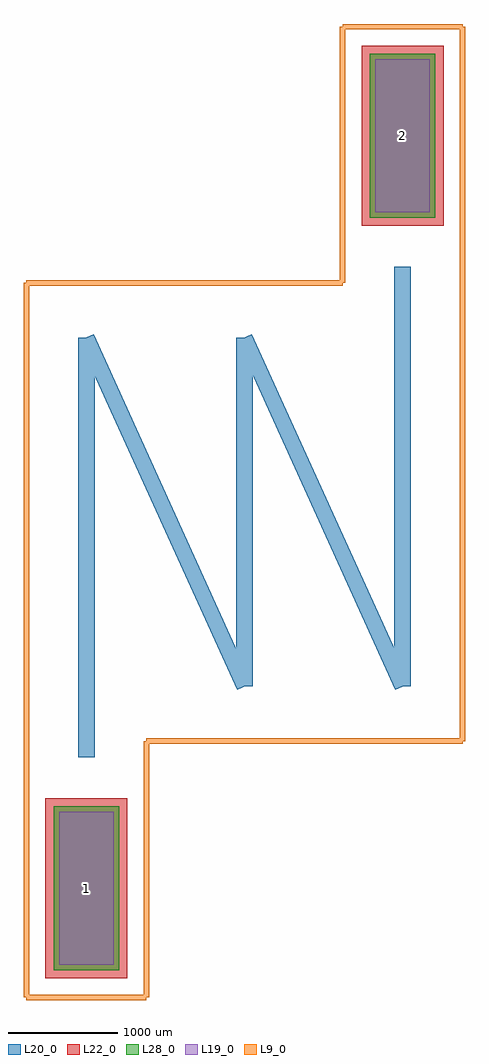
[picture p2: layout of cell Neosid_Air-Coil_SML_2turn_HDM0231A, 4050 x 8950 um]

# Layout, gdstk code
import gdstk
lib = gdstk.Library(unit=1e-6, precision=1e-09)
def R(c, l, rs):  # rectangles x0, y0, x1, y1
    for r in rs: c.add(gdstk.rectangle(r[:2], r[2:], *l))
L9_0 = (9, 0)
L19_0 = (19, 0)
L20_0 = (20, 0)
L22_0 = (22, 0)
L28_0 = (28, 0)

neosid_air_coil_sml_2tur = lib.new_cell('Neosid_Air-Coil_SML_2turn_HDM0231A')
R(neosid_air_coil_sml_2tur, L19_0, [(-1700,-4150,-1200,-2750), (1200,2750,1700,4150)])
R(neosid_air_coil_sml_2tur, L22_0, [(-1825,-4275,-1075,-2625), (1075,2625,1825,4275)])
R(neosid_air_coil_sml_2tur, L28_0, [(-1750,-4200,-1150,-2700), (1150,2700,1750,4200)])
neosid_air_coil_sml_2tur.add(gdstk.FlexPath([(1450,-1600),(1450,2250)], 149.998, ends="flush", simple_path=True, layer=20, datatype=0))  # L20_0
neosid_air_coil_sml_2tur.add(gdstk.FlexPath([(-1450,1600),(-1450,-2250)], 149.998, ends="flush", simple_path=True, layer=20, datatype=0))  # L20_0
neosid_air_coil_sml_2tur.add(gdstk.FlexPath([(0,1600),(0,-1600)], 149.998, ends="flush", simple_path=True, layer=20, datatype=0))  # L20_0
neosid_air_coil_sml_2tur.add(gdstk.FlexPath([(-1450,1600),(0,-1600)], 149.998, ends="flush", simple_path=True, layer=20, datatype=0))  # L20_0
neosid_air_coil_sml_2tur.add(gdstk.FlexPath([(0,1600),(1450,-1600)], 149.998, ends="flush", simple_path=True, layer=20, datatype=0))  # L20_0
neosid_air_coil_sml_2tur.add(gdstk.FlexPath([(-2000,2100),(-2000,-4450)], 50, ends="flush", simple_path=True, layer=9, datatype=0))  # L9_0
neosid_air_coil_sml_2tur.add(gdstk.FlexPath([(900,2100),(-2000,2100)], 50, ends="flush", simple_path=True, layer=9, datatype=0))  # L9_0
neosid_air_coil_sml_2tur.add(gdstk.FlexPath([(900,4450),(900,2100)], 50, ends="flush", simple_path=True, layer=9, datatype=0))  # L9_0
neosid_air_coil_sml_2tur.add(gdstk.FlexPath([(2000,4450),(900,4450)], 50, ends="flush", simple_path=True, layer=9, datatype=0))  # L9_0
neosid_air_coil_sml_2tur.add(gdstk.FlexPath([(2000,-2100),(2000,4450)], 50, ends="flush", simple_path=True, layer=9, datatype=0))  # L9_0
neosid_air_coil_sml_2tur.add(gdstk.FlexPath([(-900,-2100),(2000,-2100)], 50, ends="flush", simple_path=True, layer=9, datatype=0))  # L9_0
neosid_air_coil_sml_2tur.add(gdstk.FlexPath([(-900,-4450),(-900,-2100)], 50, ends="flush", simple_path=True, layer=9, datatype=0))  # L9_0
neosid_air_coil_sml_2tur.add(gdstk.FlexPath([(-2000,-4450),(-900,-4450)], 50, ends="flush", simple_path=True, layer=9, datatype=0))  # L9_0
neosid_air_coil_sml_2tur.add(gdstk.Label('2', (1450,3450), layer=28, texttype=0))
neosid_air_coil_sml_2tur.add(gdstk.Label('1', (-1450,-3450), layer=28, texttype=0))
neosid_air_coil_sml_2tur.add(gdstk.Label('type', (0,-5500), layer=9, texttype=0))
neosid_air_coil_sml_2tur.add(gdstk.Label('devicename', (0,5500), layer=9, texttype=0))

lib.write_gds('Neosid_Air-Coil_SML_2turn_HDM0231A.gds')
